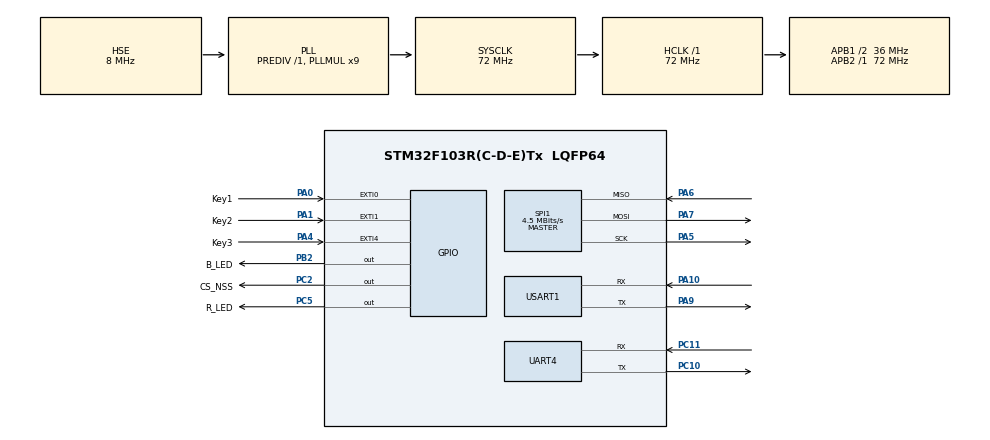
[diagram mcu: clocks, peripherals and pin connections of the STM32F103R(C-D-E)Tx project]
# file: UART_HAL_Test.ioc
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Mcu.Family=STM32F1
Mcu.Name=STM32F103R(C-D-E)Tx
Mcu.Package=LQFP64
NVIC.EXTI0_IRQn=true\:0\:0\:true\:false\:true\:true\:true\:true
NVIC.EXTI1_IRQn=true\:0\:0\:true\:false\:true\:true\:true\:true
NVIC.EXTI4_IRQn=true\:0\:0\:true\:false\:true\:true\:true\:true
NVIC.PriorityGroup=NVIC_PRIORITYGROUP_4
NVIC.UART4_IRQn=true\:0\:0\:false\:false\:true\:true\:true\:true
NVIC.USART1_IRQn=true\:0\:0\:true\:false\:true\:true\:true\:true
PA0-WKUP.GPIO_Label=Key1
PA0-WKUP.GPIO_ModeDefaultEXTI=GPIO_MODE_IT_FALLING
PA0-WKUP.GPIO_PuPd=GPIO_PULLDOWN
PA0-WKUP.Signal=GPXTI0
PA1.GPIO_Label=Key2
PA1.GPIO_PuPd=GPIO_PULLUP
PA1.Signal=GPXTI1
PA10.Mode=Asynchronous
PA10.Signal=USART1_RX
PA13.Mode=Serial_Wire
PA13.Signal=SYS_JTMS-SWDIO
PA14.Mode=Serial_Wire
PA14.Signal=SYS_JTCK-SWCLK
PA4.GPIO_Label=Key3
PA4.GPIO_PuPd=GPIO_PULLUP
PA4.Signal=GPXTI4
PA5.Mode=Full_Duplex_Master
PA5.Signal=SPI1_SCK
PA6.Mode=Full_Duplex_Master
PA6.Signal=SPI1_MISO
PA7.Mode=Full_Duplex_Master
PA7.Signal=SPI1_MOSI
PA9.Mode=Asynchronous
PA9.Signal=USART1_TX
PB2.GPIO_Label=B_LED
PB2.GPIO_ModeDefaultOutputPP=GPIO_MODE_OUTPUT_PP
PB2.GPIO_Speed=GPIO_SPEED_FREQ_HIGH
PB2.PinState=GPIO_PIN_SET
PB2.Signal=GPIO_Output
PC10.Mode=Asynchronous
PC10.Signal=UART4_TX
PC11.Mode=Asynchronous
PC11.Signal=UART4_RX
PC14-OSC32_IN.Mode=LSE-External-Oscillator
PC14-OSC32_IN.Signal=RCC_OSC32_IN
PC15-OSC32_OUT.Mode=LSE-External-Oscillator
PC15-OSC32_OUT.Signal=RCC_OSC32_OUT
PC2.GPIO_Label=CS_NSS
PC2.Signal=GPIO_Output
PC5.GPIO_Label=R_LED
PC5.GPIO_Speed=GPIO_SPEED_FREQ_HIGH
PC5.PinState=GPIO_PIN_SET
PC5.Signal=GPIO_Output
PD0-OSC_IN.Mode=HSE-External-Oscillator
PD0-OSC_IN.Signal=RCC_OSC_IN
PD1-OSC_OUT.Mode=HSE-External-Oscillator
PD1-OSC_OUT.Signal=RCC_OSC_OUT
ProjectManager.HeapSize=0x200
ProjectManager.StackSize=0x400
ProjectManager.TargetToolchain=MDK-ARM V5.32
RCC.AHBFreq_Value=72000000
RCC.APB1CLKDivider=RCC_HCLK_DIV2
RCC.APB1Freq_Value=36000000
RCC.APB1TimFreq_Value=72000000
RCC.APB2Freq_Value=72000000
RCC.APB2TimFreq_Value=72000000
RCC.HCLKFreq_Value=72000000
RCC.PLLMUL=RCC_PLL_MUL9
RCC.PLLSourceVirtual=RCC_PLLSOURCE_HSE
RCC.SYSCLKFreq_VALUE=72000000
RCC.SYSCLKSource=RCC_SYSCLKSOURCE_PLLCLK
RCC.USBFreq_Value=72000000
SPI1.BaudRatePrescaler=SPI_BAUDRATEPRESCALER_16
SPI1.CalculateBaudRate=4.5 MBits/s
SPI1.Direction=SPI_DIRECTION_2LINES
SPI1.Mode=SPI_MODE_MASTER
SPI1.VirtualType=VM_MASTER
UART4.VirtualMode=Asynchronous
USART1.VirtualMode=VM_ASYNC
VP_RTC_VS_RTC_Activate.Mode=RTC_Enabled
board=custom

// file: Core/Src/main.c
/* USER CODE BEGIN Header */
/**
 ******************************************************************************
 * @file           : main.c
 * @brief          : Main program body
 ******************************************************************************
 * @attention
 *
 * Copyright (c) 2025 STMicroelectronics.
 * All rights reserved.
 *
 * This software is licensed under terms that can be found in the LICENSE file
 * in the root directory of this software component.
 * If no LICENSE file comes with this software, it is provided AS-IS.
 *
 ******************************************************************************
 */
/* USER CODE END Header */
#include "main.h"
#include "rtc.h"
#include "spi.h"
#include "usart.h"
#include "gpio.h"

/* USER CODE BEGIN Includes */
#include "led.h"
#include "key.h"
#include "esp32.h"
#include "wifi.h"
#include "rc522.h"
#include "bsp_LCD_ILI9341.h"
#include <string.h>
#include <stdio.h>
#include "MyRTC.h"
#include "MyUI.h"
#include "systemfunction.h"
/* USER CODE END Includes */

/* USER CODE BEGIN PV */
extern uint8_t key1_flag;
extern uint8_t key2_flag;
extern uint8_t key3_flag;
extern uint8_t is_RecvOk;
extern char buff[1024];
extern uint16_t len;

extern uint8_t rxBuff[1024];
extern uint16_t rxLen;
extern uint8_t clientId;
extern uint8_t clientIp[16];
extern uint16_t clientPort;

extern uint8_t status;
extern uint8_t cardID[5]; // 存储卡片UID（4字节UID + 1字节校验）
extern uint8_t uid[5];       // 存储卡片UID (4字节 + 校验字节)
//char CardMessage[50];
// 打卡记录存储数组
extern char g_records[4][30];

// 格式化时间字符串
extern char timeStr[20];
//RTC校准计数器
uint8_t RTC_Request = 0;

/* USER CODE END PV */

void SystemClock_Config(void);
/* USER CODE BEGIN PFP */
/*校准RTC时钟*/

/* USER CODE END PFP */

int main(void)
{

    /* MCU Configuration--------------------------------------------------------*/

    /* Reset of all peripherals, Initializes the Flash interface and the Systick. */
    HAL_Init();

    /* Configure the system clock */
    SystemClock_Config();

    /* Initialize all configured peripherals */
    MX_GPIO_Init();
    MX_USART1_UART_Init();
    MX_UART4_Init();
    MX_SPI1_Init();
    MX_RTC_Init();
    /* USER CODE BEGIN 2 */
    LCD_Init();
    MFRC522_Init(); // RC522初始化
    /*设置默认RTC，用于演示RTC校准*/

    rtc_set_time(2025,7,13,1,1,1);

    UI_Init();     // 初始化UI界面
    TcpServe_Init(); // 初始化TCP服务器

    /* USER CODE END 2 */

    /* Infinite loop */
    /* USER CODE BEGIN WHILE */
    while (1)
    {
        printf("while\n");
        // 检测卡片,如果有卡片则进入阻塞
        if(MFRC522_Check(uid) == MI_OK){
            checkCard();
        }
        else{

            // 无卡时显示提示
            static uint32_t lastNoCardTime = 0;
            if (HAL_GetTick() - lastNoCardTime > 1000)
            {
                lastNoCardTime = HAL_GetTick();
                UI_ShowCardID("No card");
                UI_ShowState("Ready.");
                UI_Waiting();
            }

            HAL_Delay(200); // 检测间隔
        }
        UI_ShowTime();//显示当前时间

        if(Key3_Status()==Key_Press){//当key3按下则主动发起时钟校准
            if(!RTC_Request){
                UI_ShowString("SET RTC VALUE...");
                RTC_Request = 1;
                systemRTCInit();//校准时钟
                printf("\nSET RTC OVER\n");
                UI_ShowString("RTC SET SUCCESS!");
            }

        }

    }

    /* USER CODE END WHILE */

}

void SystemClock_Config(void)
{
  RCC_OscInitTypeDef RCC_OscInitStruct = {0};
  RCC_ClkInitTypeDef RCC_ClkInitStruct = {0};
  RCC_PeriphCLKInitTypeDef PeriphClkInit = {0};

  /** Initializes the RCC Oscillators according to the specified parameters
  * in the RCC_OscInitTypeDef structure.
  */
  RCC_OscInitStruct.OscillatorType = RCC_OSCILLATORTYPE_LSI|RCC_OSCILLATORTYPE_HSE;
  RCC_OscInitStruct.HSEState = RCC_HSE_ON;
  RCC_OscInitStruct.HSEPredivValue = RCC_HSE_PREDIV_DIV1;
  RCC_OscInitStruct.HSIState = RCC_HSI_ON;
  RCC_OscInitStruct.LSIState = RCC_LSI_ON;
  RCC_OscInitStruct.PLL.PLLState = RCC_PLL_ON;
  RCC_OscInitStruct.PLL.PLLSource = RCC_PLLSOURCE_HSE;
  RCC_OscInitStruct.PLL.PLLMUL = RCC_PLL_MUL9;
  if (HAL_RCC_OscConfig(&RCC_OscInitStruct) != HAL_OK)
  {
    Error_Handler();
  }

  /** Initializes the CPU, AHB and APB buses clocks
  */
  RCC_ClkInitStruct.ClockType = RCC_CLOCKTYPE_HCLK|RCC_CLOCKTYPE_SYSCLK
                              |RCC_CLOCKTYPE_PCLK1|RCC_CLOCKTYPE_PCLK2;
  RCC_ClkInitStruct.SYSCLKSource = RCC_SYSCLKSOURCE_PLLCLK;
  RCC_ClkInitStruct.AHBCLKDivider = RCC_SYSCLK_DIV1;
  RCC_ClkInitStruct.APB1CLKDivider = RCC_HCLK_DIV2;
  RCC_ClkInitStruct.APB2CLKDivider = RCC_HCLK_DIV1;

  if (HAL_RCC_ClockConfig(&RCC_ClkInitStruct, FLASH_LATENCY_2) != HAL_OK)
  {
    Error_Handler();
  }
  PeriphClkInit.PeriphClockSelection = RCC_PERIPHCLK_RTC;
  PeriphClkInit.RTCClockSelection = RCC_RTCCLKSOURCE_LSI;
  if (HAL_RCCEx_PeriphCLKConfig(&PeriphClkInit) != HAL_OK)
  {
    Error_Handler();
  }
}

void Error_Handler(void)
{
  __disable_irq();
  while (1)
  {
  }
}
